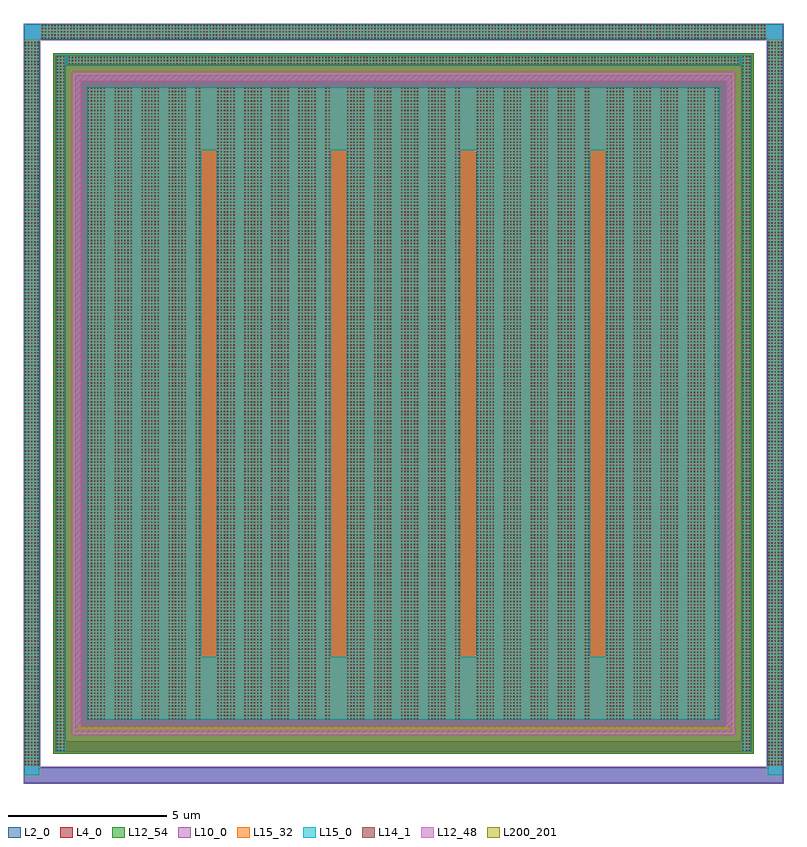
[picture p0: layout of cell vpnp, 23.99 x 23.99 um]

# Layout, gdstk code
import gdstk
lib = gdstk.Library(unit=1e-6, precision=1e-09)
def R(c, l, rs):  # rectangles x0, y0, x1, y1
    for r in rs: c.add(gdstk.rectangle(r[:2], r[2:], *l))
def A(c, l, x, y, w, h, nx, ny, dx, dy):  # array of equal rectangles
    R(c, l, [(x+i*dx, y+j*dy, x+i*dx+w, y+j*dy+h) for i in range(nx) for j in range(ny)])
L2_0 = (2, 0)
L4_0 = (4, 0)
L10_0 = (10, 0)
L12_48 = (12, 48)
L12_54 = (12, 54)
L14_1 = (14, 1)
L15_0 = (15, 0)
L15_32 = (15, 32)
L200_201 = (200, 201)

vpnp = lib.new_cell('vpnp')
R(vpnp, L2_0, [(-18.479,-10.509,5.473,-10.029), (-18.479,-10.029,-17.999,12.963), (4.993,-10.029,5.473,12.963), (-17.499,-9.529,4.493,-9.189), (-17.499,-9.189,-17.159,12.123), (4.153,-9.189,4.493,12.123), (-16.803,-8.833,3.797,11.767), (-17.499,12.123,4.493,12.463), (-18.479,12.963,5.473,13.443)])
R(vpnp, L4_0, [(-17.555,-9.585,4.549,12.519)])
R(vpnp, L10_0, [(-18.5,-10.53,5.494,-10.008), (-18.5,-10.008,-17.978,12.942), (4.972,-10.008,5.494,12.942), (-16.873,-8.903,3.867,11.837), (-18.5,12.942,5.494,13.464)])
R(vpnp, L12_48, [(-16.984,-9.014,3.978,-8.708), (-16.984,-8.708,-16.678,11.642), (3.672,-8.708,3.978,11.642), (-16.984,11.642,3.978,11.948)])
R(vpnp, L12_54, [(-17.555,-9.585,4.549,12.519)])
A(vpnp, L14_1, -18.459, -9.953, 0.04, 0.04, 5, 229, 0.1, 0.1)
A(vpnp, L14_1, 5.013, -9.953, 0.04, 0.04, 5, 229, 0.1, 0.1)
A(vpnp, L14_1, -17.449, -9.503, 0.04, 0.04, 3, 220, 0.1, 0.1)
A(vpnp, L14_1, 4.203, -9.503, 0.04, 0.04, 3, 220, 0.1, 0.1)
A(vpnp, L14_1, -16.473, -8.503, 0.04, 0.04, 6, 200, 0.1, 0.1)
A(vpnp, L14_1, -15.621, -8.503, 0.04, 0.04, 6, 200, 0.1, 0.1)
A(vpnp, L14_1, -14.769, -8.503, 0.04, 0.04, 6, 200, 0.1, 0.1)
A(vpnp, L14_1, -13.917, -8.503, 0.04, 0.04, 6, 200, 0.1, 0.1)
A(vpnp, L14_1, -13.065, -8.503, 0.04, 0.04, 1, 200, 0, 0.1)
A(vpnp, L14_1, -12.965, -8.503, 0.04, 0.04, 1, 200, 0, 0.1)
A(vpnp, L14_1, -12.377, -8.503, 0.04, 0.04, 6, 200, 0.1, 0.1)
A(vpnp, L14_1, -11.525, -8.503, 0.04, 0.04, 6, 200, 0.1, 0.1)
A(vpnp, L14_1, -10.673, -8.503, 0.04, 0.04, 6, 200, 0.1, 0.1)
A(vpnp, L14_1, -9.821, -8.503, 0.04, 0.04, 6, 200, 0.1, 0.1)
A(vpnp, L14_1, -8.969, -8.503, 0.04, 0.04, 1, 200, 0, 0.1)
A(vpnp, L14_1, -8.869, -8.503, 0.04, 0.04, 1, 200, 0, 0.1)
A(vpnp, L14_1, -8.282, -8.503, 0.04, 0.04, 6, 200, 0.1, 0.1)
A(vpnp, L14_1, -7.43, -8.503, 0.04, 0.04, 6, 200, 0.1, 0.1)
A(vpnp, L14_1, -6.578, -8.503, 0.04, 0.04, 6, 200, 0.1, 0.1)
A(vpnp, L14_1, -5.726, -8.503, 0.04, 0.04, 6, 200, 0.1, 0.1)
A(vpnp, L14_1, -4.874, -8.503, 0.04, 0.04, 1, 200, 0, 0.1)
A(vpnp, L14_1, -4.774, -8.503, 0.04, 0.04, 1, 200, 0, 0.1)
A(vpnp, L14_1, -4.187, -8.503, 0.04, 0.04, 6, 200, 0.1, 0.1)
A(vpnp, L14_1, -3.335, -8.503, 0.04, 0.04, 6, 200, 0.1, 0.1)
A(vpnp, L14_1, -2.483, -8.503, 0.04, 0.04, 6, 200, 0.1, 0.1)
A(vpnp, L14_1, -1.631, -8.503, 0.04, 0.04, 6, 200, 0.1, 0.1)
A(vpnp, L14_1, -0.779, -8.503, 0.04, 0.04, 1, 200, 0, 0.1)
A(vpnp, L14_1, -0.679, -8.503, 0.04, 0.04, 1, 200, 0, 0.1)
A(vpnp, L14_1, -0.092, -8.503, 0.04, 0.04, 6, 200, 0.1, 0.1)
A(vpnp, L14_1, 0.76, -8.503, 0.04, 0.04, 6, 200, 0.1, 0.1)
A(vpnp, L14_1, 1.612, -8.503, 0.04, 0.04, 6, 200, 0.1, 0.1)
A(vpnp, L14_1, 2.464, -8.503, 0.04, 0.04, 6, 200, 0.1, 0.1)
A(vpnp, L14_1, 3.316, -8.503, 0.04, 0.04, 1, 200, 0, 0.1)
A(vpnp, L14_1, 3.416, -8.503, 0.04, 0.04, 1, 200, 0, 0.1)
A(vpnp, L14_1, -17.073, 12.173, 0.04, 0.04, 212, 3, 0.1, 0.1)
A(vpnp, L14_1, -17.923, 12.983, 0.04, 0.04, 229, 5, 0.1, 0.1)
A(vpnp, L15_0, -12.395, -6.521, 3.595, 15.976, 4, 1, 4.095, 0)
R(vpnp, L15_0, [(-18.477,-10.269,-18.001,13.441), (4.995,-10.269,5.471,13.441), (-17.467,-9.521,-17.191,12.455), (4.185,-9.521,4.461,12.455), (-16.491,-8.521,3.485,-6.521), (-16.491,-6.521,-12.896,9.455), (-16.491,9.455,3.485,11.455), (-17.191,12.155,4.185,12.455), (-18.001,12.965,4.995,13.441)])
R(vpnp, L15_32, [(-18.477,-9.971,-18.001,12.965), (4.995,-9.971,5.471,12.965), (-17.467,-9.521,-17.191,12.455), (4.185,-9.521,4.461,12.455), (-16.491,-8.521,3.485,11.455), (-17.091,12.155,4.085,12.431), (-17.941,12.965,4.935,13.441)])
R(vpnp, L200_201, [(-16.803,-8.833,3.797,-8.733)])

lib.write_gds('vpnp.gds')
